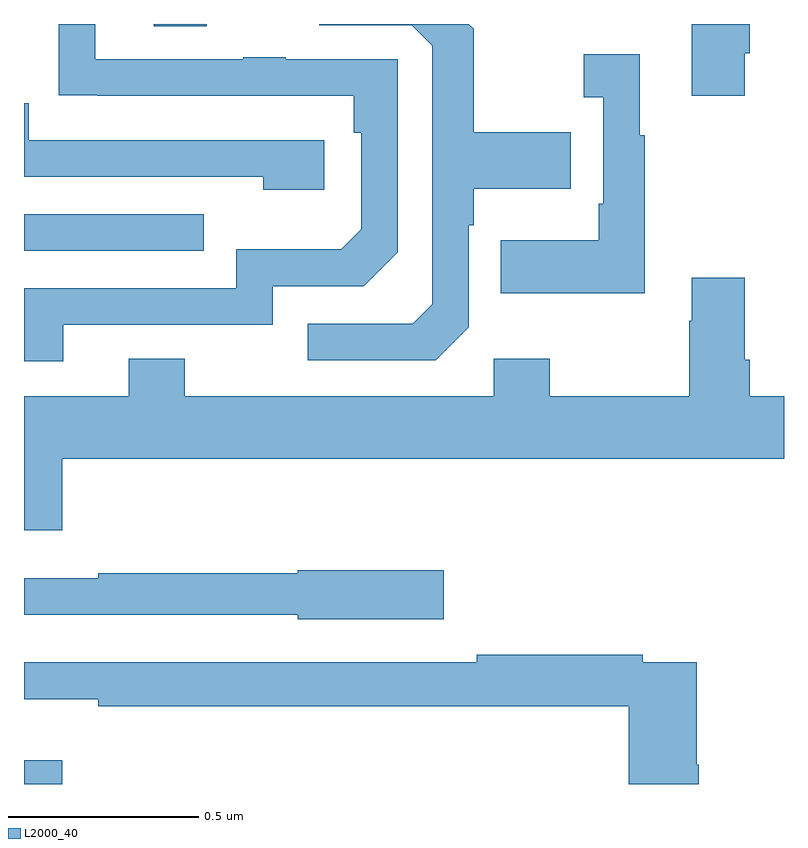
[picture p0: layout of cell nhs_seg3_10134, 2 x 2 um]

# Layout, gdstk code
import gdstk
lib = gdstk.Library(unit=1e-6, precision=1e-09)
def R(c, l, rs):  # rectangles x0, y0, x1, y1
    for r in rs: c.add(gdstk.rectangle(r[:2], r[2:], *l))
def P(c, l, *ps):  # polygons
    for p in ps: c.add(gdstk.Polygon(p, *l))
L2000_40 = (2000, 40)

nhs_seg3_10134 = lib.new_cell('nhs_seg3_10134')
R(nhs_seg3_10134, L2000_40, [(237,693.4,237.1,693.463), (237,694.803,237.473,694.899), (237.341,695.394,237.481,695.4)])
P(nhs_seg3_10134, L2000_40, [(238.897,695.323),(238.91,695.323),(238.91,695.4),(238.757,695.4),(238.757,695.211),(238.897,695.211)],
  [(238.17,694.602),(238.17,694.871),(238.183,694.871),(238.183,694.967),(238.439,694.967),(238.439,695.115),(238.183,695.115),(238.183,695.387),(238.17,695.4),(237.777,695.4),(237.777,695.397),(238.02,695.397),(238.074,695.343),(238.074,694.662),(238.023,694.611),(237.747,694.611),(237.747,694.515),(238.083,694.515)],
  [(237.103,694.608),(237.654,694.608),(237.654,694.71),(237.894,694.71),(237.984,694.8),(237.984,695.307),(237.689,695.307),(237.689,695.312),(237.577,695.312),(237.577,695.307),(237.187,695.307),(237.187,695.4),(237.091,695.4),(237.091,695.212),(237.193,695.212),(237.193,695.211),(237.868,695.211),(237.868,695.114),(237.888,695.114),(237.888,694.86),(237.835,694.807),(237.558,694.807),(237.558,694.704),(237,694.704),(237,694.512),(237.103,694.512)],
  [(238.633,695.107),(238.621,695.107),(238.621,695.32),(238.473,695.32),(238.473,695.207),(238.524,695.207),(238.524,694.927),(238.512,694.927),(238.512,694.831),(238.255,694.831),(238.255,694.691),(238.633,694.691)],
  [(237.79,695.094),(237.013,695.094),(237.013,695.191),(237,695.191),(237,694.998),(237.629,694.998),(237.629,694.964),(237.79,694.964)],
  [(239,694.42),(238.91,694.42),(238.91,694.516),(238.897,694.516),(238.897,694.732),(238.757,694.732),(238.757,694.619),(238.75,694.619),(238.75,694.42),(238.383,694.42),(238.383,694.519),(238.236,694.519),(238.236,694.42),(237.423,694.42),(237.423,694.519),(237.275,694.519),(237.275,694.42),(237,694.42),(237,694.068),(237.1,694.068),(237.1,694.256),(239,694.256)],
  [(238.105,693.963),(237.72,693.963),(237.72,693.955),(237.196,693.955),(237.196,693.942),(237,693.942),(237,693.846),(237.72,693.846),(237.72,693.833),(238.105,693.833)],
  [(238.775,693.451),(238.77,693.451),(238.77,693.72),(238.628,693.72),(238.628,693.74),(238.192,693.74),(238.192,693.72),(237,693.72),(237,693.623),(237.196,693.623),(237.196,693.604),(238.592,693.604),(238.592,693.4),(238.775,693.4)])

lib.write_gds('nhs_seg3_10134.gds')
